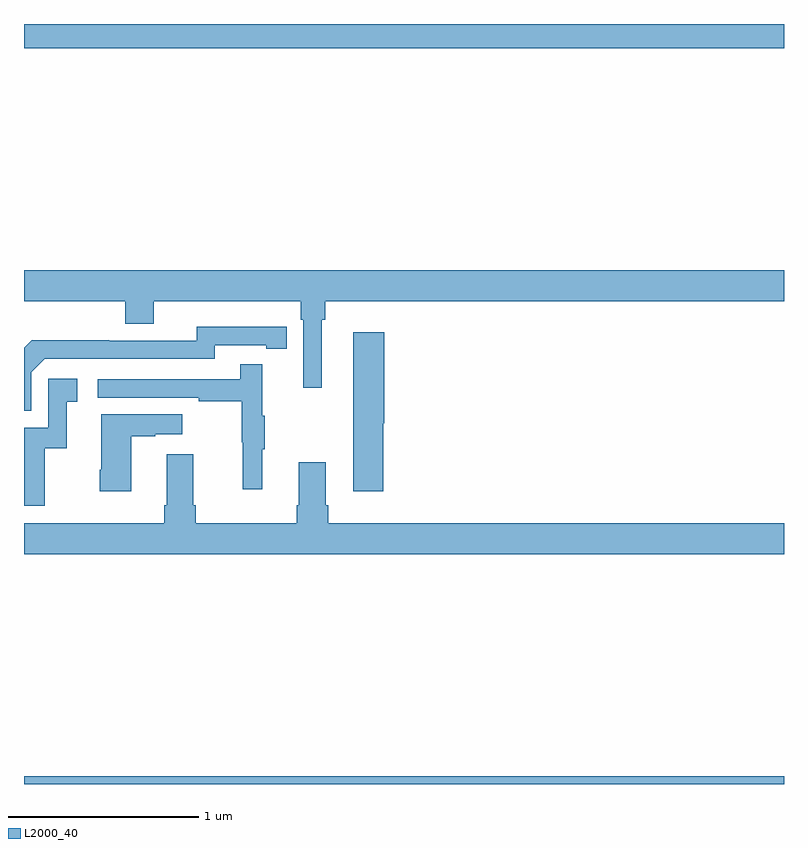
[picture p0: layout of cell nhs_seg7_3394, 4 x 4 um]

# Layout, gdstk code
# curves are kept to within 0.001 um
import gdstk
lib = gdstk.Library(unit=1e-6, precision=1e-09)
def R(c, l, rs):  # rectangles x0, y0, x1, y1
    for r in rs: c.add(gdstk.rectangle(r[:2], r[2:], *l))
def P(c, l, *ps):  # polygons
    for p in ps: c.add(gdstk.Polygon(p, *l))
L2000_40 = (2000, 40)

nhs_seg7_3394 = lib.new_cell('nhs_seg7_3394')
R(nhs_seg7_3394, L2000_40, [(325,1074,329,1074.04), (325,1077.872,329,1078)])
P(nhs_seg7_3394, L2000_40, [(326.566,1076.444),(326.585,1076.444),(326.585,1076.54),(329,1076.54),(329,1076.704),(325,1076.704),(325,1076.54),(325.532,1076.54),(325.532,1076.423),(325.684,1076.423),(325.684,1076.54),(326.456,1076.54),(326.456,1076.444),(326.469,1076.444),(326.469,1076.085),(326.566,1076.085)],
  [(325.038,1076.166),(325.11,1076.238),(326.004,1076.238),(326.004,1076.31),(326.276,1076.31),(326.276,1076.29),(326.384,1076.29),(326.384,1076.406),(325.908,1076.407),(325.908,1076.334),(325.448,1076.334),(325.448,1076.336),(325.04,1076.336),(325,1076.296),(325,1075.965),(325.038,1075.965)],
  [(326.891,1075.899),(326.896,1075.899),(326.896,1076.377),(326.732,1076.377),(326.732,1075.542),(326.891,1075.542)],
  [(326.255,1075.763),(326.266,1075.763),(326.266,1075.937),(326.255,1075.937),(326.255,1076.209),(326.137,1076.209),(326.137,1076.13),(325.389,1076.13),(325.389,1076.034),(325.921,1076.034),(325.921,1076.014),(326.145,1076.014),(326.145,1075.8),(326.152,1075.8),(326.152,1075.551),(326.255,1075.551)],
  [(325.108,1075.767),(325.226,1075.767),(325.226,1076.013),(325.279,1076.013),(325.279,1076.134),(325.128,1076.134),(325.128,1075.875),(325,1075.875),(325,1075.464),(325.108,1075.464)],
  [(325.564,1075.831),(325.691,1075.831),(325.691,1075.841),(325.834,1075.841),(325.834,1075.945),(325.406,1075.945),(325.406,1075.654),(325.399,1075.654),(325.399,1075.542),(325.564,1075.542)],
  [(329,1075.372),(326.6,1075.372),(326.6,1075.468),(326.587,1075.468),(326.587,1075.693),(326.447,1075.693),(326.447,1075.468),(326.435,1075.468),(326.435,1075.372),(325.904,1075.372),(325.904,1075.468),(325.891,1075.468),(325.891,1075.735),(325.751,1075.735),(325.751,1075.468),(325.739,1075.468),(325.739,1075.372),(325,1075.372),(325,1075.208),(329,1075.208)])

lib.write_gds('nhs_seg7_3394.gds')
